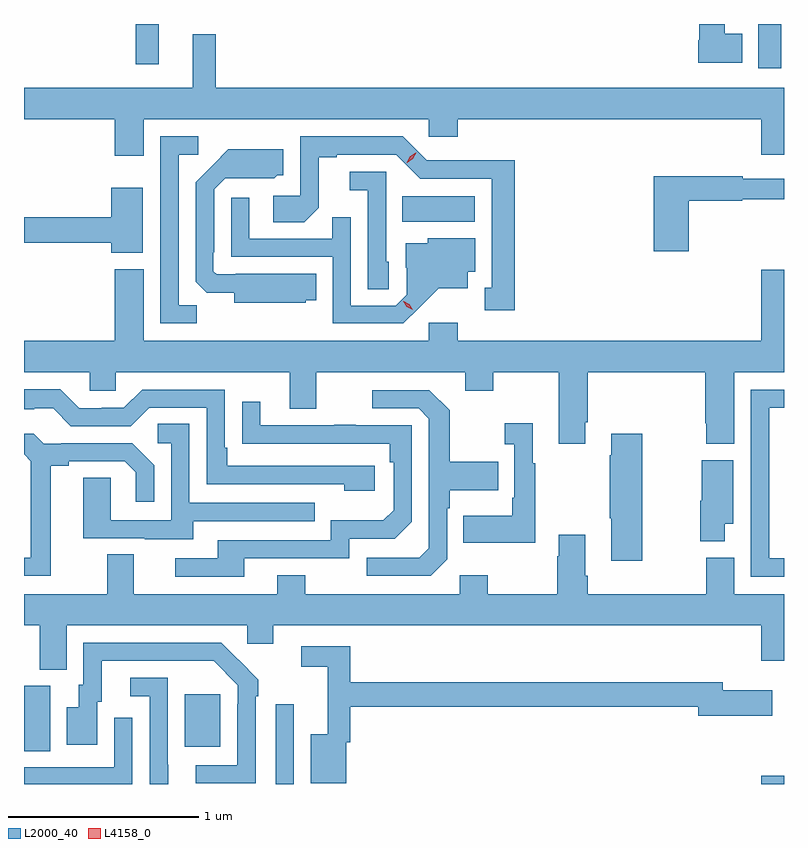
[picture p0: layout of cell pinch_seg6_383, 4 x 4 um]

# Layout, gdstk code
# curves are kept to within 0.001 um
import gdstk
lib = gdstk.Library(unit=1e-6, precision=1e-09)
def R(c, l, rs):  # rectangles x0, y0, x1, y1
    for r in rs: c.add(gdstk.rectangle(r[:2], r[2:], *l))
def P(c, l, *ps):  # polygons
    for p in ps: c.add(gdstk.Polygon(p, *l))
L2000_40 = (2000, 40)
L4158_0 = (4158, 0)

pinch_seg6_383 = lib.new_cell('pinch_seg6_383')
R(pinch_seg6_383, L2000_40, [(641.973,922.524,642.069,922.945), (644.528,922.524,644.649,922.567), (640.649,922.696,640.786,923.04), (641.495,922.721,641.683,922.996), (642.64,925.484,643.021,925.618), (644.513,926.292,644.635,926.524), (641.238,926.313,641.359,926.524)])
P(pinch_seg6_383, L2000_40, [(644.428,926.473),(644.338,926.473),(644.338,926.524),(644.204,926.524),(644.204,926.439),(644.198,926.439),(644.198,926.321),(644.428,926.321)],
  [(640.649,926.024),(641.126,926.024),(641.126,925.83),(641.278,925.83),(641.278,926.024),(642.78,926.024),(642.78,925.931),(642.932,925.931),(642.932,926.024),(644.528,926.024),(644.528,925.836),(644.649,925.836),(644.649,926.188),(641.659,926.188),(641.659,926.47),(641.537,926.47),(641.537,926.188),(640.649,926.188)],
  [(641.559,925.043),(641.463,925.043),(641.463,925.836),(641.566,925.836),(641.566,925.932),(641.367,925.932),(641.367,924.948),(641.559,924.948)],
  [(643.231,925.808),(642.99,925.808),(642.99,925.806),(642.768,925.806),(642.642,925.932),(642.102,925.932),(642.102,925.62),(641.961,925.62),(641.961,925.48),(642.125,925.48),(642.201,925.556),(642.201,925.824),(642.295,925.824),(642.295,925.836),(642.609,925.836),(642.735,925.71),(643.112,925.71),(643.112,925.137),(643.073,925.137),(643.073,925.017),(643.231,925.017)],
  [(642.132,925.07),(642.188,925.07),(642.188,925.21),(641.764,925.21),(641.764,925.206),(641.664,925.206),(641.646,925.224),(641.646,925.324),(641.649,925.324),(641.649,925.653),(641.709,925.713),(641.966,925.712),(641.982,925.728),(642.013,925.728),(642.013,925.864),(641.725,925.864),(641.553,925.69),(641.553,925.168),(641.612,925.109),(641.756,925.109),(641.756,925.058),(642.132,925.058)],
  [(642.57,925.272),(642.555,925.272),(642.555,925.746),(642.363,925.746),(642.363,925.649),(642.459,925.649),(642.459,925.129),(642.57,925.129)],
  [(644.147,925.594),(644.43,925.594),(644.43,925.602),(644.649,925.602),(644.649,925.71),(644.432,925.71),(644.432,925.723),(643.964,925.723),(643.964,925.329),(644.147,925.329)],
  [(641.275,925.663),(641.108,925.663),(641.108,925.508),(640.649,925.508),(640.649,925.372),(641.108,925.372),(641.108,925.319),(641.275,925.319)],
  [(642.73,925.031),(642.833,925.133),(642.985,925.133),(642.985,925.22),(643.024,925.22),(643.024,925.396),(642.774,925.396),(642.774,925.369),(642.659,925.369),(642.659,925.24),(642.663,925.24),(642.663,925.098),(642.606,925.041),(642.369,925.041),(642.369,925.508),(642.271,925.508),(642.271,925.395),(641.835,925.395),(641.835,925.609),(641.739,925.609),(641.739,925.299),(642.273,925.299),(642.273,924.948),(642.646,924.948)],
  [(644.386,924.692),(644.649,924.692),(644.649,925.231),(644.528,925.231),(644.528,924.856),(642.932,924.856),(642.932,924.952),(642.78,924.952),(642.78,924.856),(641.278,924.856),(641.278,925.234),(641.126,925.234),(641.126,924.856),(640.649,924.856),(640.649,924.692),(640.995,924.692),(640.995,924.594),(641.133,924.594),(641.133,924.692),(642.047,924.692),(642.047,924.498),(642.187,924.498),(642.187,924.692),(642.971,924.692),(642.971,924.593),(643.119,924.593),(643.119,924.692),(643.463,924.692),(643.463,924.315),(643.603,924.315),(643.603,924.427),(643.616,924.427),(643.616,924.692),(644.234,924.692),(644.234,924.424),(644.239,924.424),(644.239,924.314),(644.386,924.314)],
  [(642.496,924.198),(641.719,924.198),(641.719,924.295),(641.706,924.295),(641.706,924.6),(641.271,924.6),(641.175,924.504),(641.057,924.504),(641.057,924.501),(640.941,924.501),(640.841,924.601),(640.649,924.601),(640.649,924.497),(640.703,924.497),(640.703,924.501),(640.803,924.501),(640.896,924.408),(641.211,924.408),(641.307,924.504),(641.61,924.504),(641.61,924.102),(642.335,924.102),(642.335,924.068),(642.496,924.068)],
  [(644.649,923.712),(644.571,923.712),(644.571,924.505),(644.649,924.505),(644.649,924.6),(644.475,924.6),(644.475,923.616),(644.649,923.616)],
  [(642.876,923.706),(642.876,923.975),(642.889,923.975),(642.889,924.071),(643.145,924.071),(643.145,924.219),(642.889,924.219),(642.889,924.491),(642.783,924.597),(642.483,924.597),(642.483,924.501),(642.726,924.501),(642.78,924.447),(642.78,923.766),(642.729,923.715),(642.453,923.715),(642.453,923.619),(642.789,923.619)],
  [(641.809,923.712),(642.36,923.712),(642.36,923.814),(642.6,923.814),(642.69,923.904),(642.69,924.411),(642.395,924.411),(642.395,924.416),(642.283,924.416),(642.283,924.411),(641.893,924.411),(641.893,924.535),(641.797,924.535),(641.797,924.316),(642.574,924.315),(642.574,924.218),(642.594,924.218),(642.594,923.964),(642.541,923.911),(642.264,923.911),(642.264,923.808),(641.669,923.808),(641.669,923.712),(641.445,923.712),(641.445,923.616),(641.809,923.616)],
  [(643.339,924.211),(643.327,924.211),(643.327,924.424),(643.179,924.424),(643.179,924.311),(643.23,924.311),(643.23,924.031),(643.218,924.031),(643.218,923.935),(642.961,923.935),(642.961,923.795),(643.339,923.795)],
  [(641.539,923.907),(642.179,923.907),(642.179,924.003),(641.52,924.003),(641.52,924.419),(641.352,924.419),(641.352,924.318),(641.424,924.318),(641.424,923.913),(641.106,923.913),(641.106,924.137),(640.961,924.137),(640.961,923.817),(641.285,923.817),(641.285,923.813),(641.539,923.813)],
  [(643.902,924.367),(643.739,924.367),(643.739,924.254),(643.732,924.254),(643.732,923.923),(643.739,923.923),(643.739,923.7),(643.902,923.7)],
  [(640.789,924.2),(640.885,924.2),(640.885,924.222),(641.18,924.222),(641.237,924.165),(641.237,924.009),(641.334,924.009),(641.334,924.202),(641.218,924.318),(640.846,924.318),(640.846,924.315),(640.752,924.315),(640.7,924.367),(640.649,924.367),(640.649,924.259),(640.685,924.223),(640.685,923.715),(640.649,923.715),(640.649,923.619),(640.789,923.619)],
  [(644.338,923.894),(644.383,923.894),(644.383,924.229),(644.216,924.229),(644.216,924.015),(644.209,924.015),(644.209,923.801),(644.338,923.801)],
  [(640.873,923.36),(641.823,923.36),(641.823,923.262),(641.962,923.262),(641.962,923.36),(644.528,923.36),(644.528,923.172),(644.649,923.172),(644.649,923.524),(644.386,923.524),(644.386,923.716),(644.239,923.716),(644.239,923.524),(643.616,923.524),(643.616,923.62),(643.603,923.62),(643.603,923.836),(643.463,923.836),(643.463,923.723),(643.456,923.723),(643.456,923.524),(643.089,923.524),(643.089,923.623),(642.942,923.623),(642.942,923.524),(642.129,923.524),(642.129,923.623),(641.981,923.623),(641.981,923.524),(641.227,923.524),(641.227,923.732),(641.087,923.732),(641.087,923.524),(640.649,923.524),(640.649,923.36),(640.733,923.36),(640.733,923.125),(640.873,923.125)],
  [(641.868,922.985),(641.883,922.985),(641.883,923.073),(641.686,923.268),(640.962,923.268),(640.962,923.046),(640.937,923.046),(640.937,922.927),(640.874,922.927),(640.874,922.731),(641.035,922.731),(641.035,922.956),(641.059,922.956),(641.059,923.172),(641.647,923.172),(641.775,923.043),(641.775,922.943),(641.772,922.943),(641.772,922.623),(641.553,922.623),(641.553,922.527),(641.868,922.527)],
  [(642.346,922.743),(642.365,922.743),(642.365,922.93),(644.198,922.93),(644.198,922.883),(644.587,922.883),(644.587,923.017),(644.326,923.017),(644.326,923.059),(642.365,923.059),(642.365,923.25),(642.108,923.25),(642.108,923.142),(642.248,923.142),(642.248,922.786),(642.158,922.786),(642.158,922.529),(642.346,922.529)],
  [(641.407,922.625),(641.406,922.625),(641.406,923.082),(641.208,923.082),(641.208,922.986),(641.31,922.986),(641.31,922.524),(641.407,922.524)],
  [(641.219,922.618),(641.22,922.618),(641.22,922.873),(641.124,922.873),(641.124,922.611),(640.649,922.611),(640.649,922.524),(641.219,922.524)])
P(pinch_seg6_383, L4158_0, [(642.664,925.794),(642.664,925.795),(642.681,925.827),(642.712,925.846),(642.713,925.846),(642.713,925.846),(642.696,925.814),(642.665,925.794)],
  [(642.695,925.02),(642.664,925.035),(642.646,925.065),(642.646,925.065),(642.647,925.065),(642.677,925.05),(642.695,925.021),(642.695,925.02)])

lib.write_gds('pinch_seg6_383.gds')
